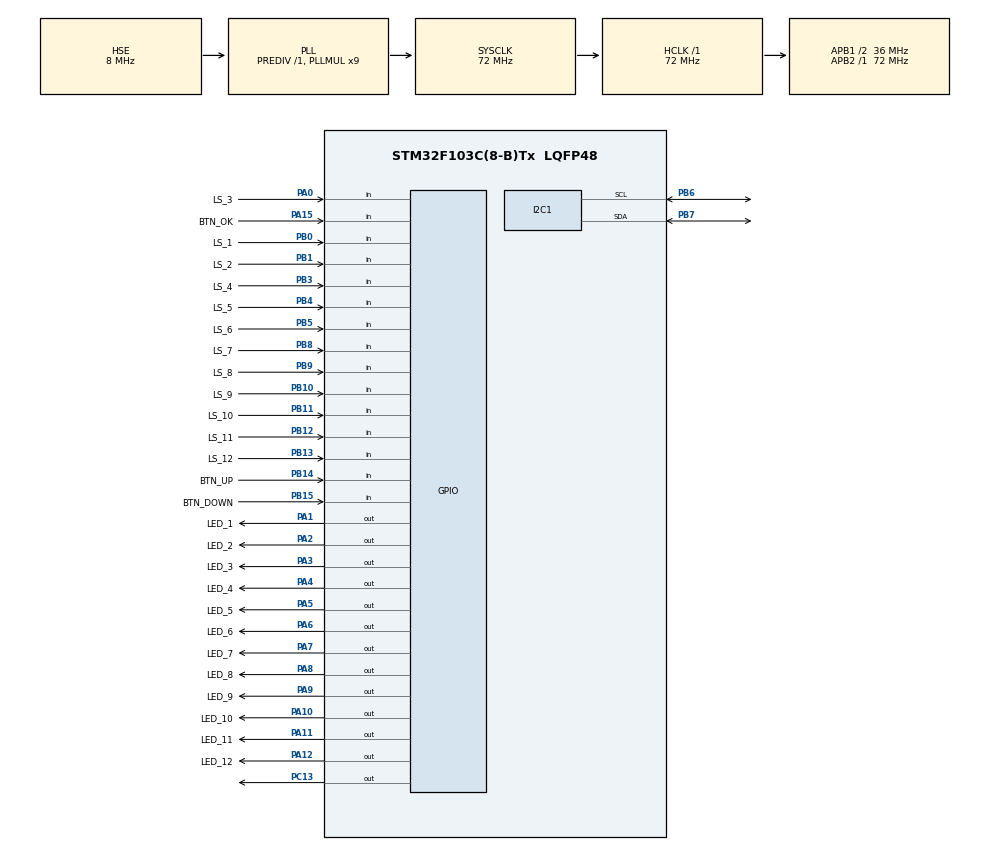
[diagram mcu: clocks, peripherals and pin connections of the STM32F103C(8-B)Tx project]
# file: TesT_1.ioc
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Mcu.Family=STM32F1
Mcu.Name=STM32F103C(8-B)Tx
Mcu.Package=LQFP48
NVIC.PriorityGroup=NVIC_PRIORITYGROUP_4
PA0-WKUP.GPIO_Label=LS_3
PA0-WKUP.GPIO_PuPd=GPIO_PULLDOWN
PA0-WKUP.Signal=GPIO_Input
PA1.GPIO_Label=LED_1
PA1.GPIO_ModeDefaultOutputPP=GPIO_MODE_OUTPUT_OD
PA1.GPIO_PuPd=GPIO_NOPULL
PA1.PinState=GPIO_PIN_SET
PA1.Signal=GPIO_Output
PA10.GPIO_Label=LED_10
PA10.GPIO_ModeDefaultOutputPP=GPIO_MODE_OUTPUT_OD
PA10.GPIO_PuPd=GPIO_NOPULL
PA10.PinState=GPIO_PIN_SET
PA10.Signal=GPIO_Output
PA11.GPIO_Label=LED_11
PA11.GPIO_ModeDefaultOutputPP=GPIO_MODE_OUTPUT_OD
PA11.GPIO_PuPd=GPIO_NOPULL
PA11.PinState=GPIO_PIN_SET
PA11.Signal=GPIO_Output
PA12.GPIO_Label=LED_12
PA12.GPIO_ModeDefaultOutputPP=GPIO_MODE_OUTPUT_OD
PA12.GPIO_PuPd=GPIO_NOPULL
PA12.PinState=GPIO_PIN_SET
PA12.Signal=GPIO_Output
PA13.Mode=Serial_Wire
PA13.Signal=SYS_JTMS-SWDIO
PA14.Mode=Serial_Wire
PA14.Signal=SYS_JTCK-SWCLK
PA15.GPIO_Label=BTN_OK
PA15.GPIO_PuPd=GPIO_PULLDOWN
PA15.Signal=GPIO_Input
PA2.GPIO_Label=LED_2
PA2.GPIO_ModeDefaultOutputPP=GPIO_MODE_OUTPUT_OD
PA2.GPIO_PuPd=GPIO_NOPULL
PA2.PinState=GPIO_PIN_SET
PA2.Signal=GPIO_Output
PA3.GPIO_Label=LED_3
PA3.GPIO_ModeDefaultOutputPP=GPIO_MODE_OUTPUT_OD
PA3.GPIO_PuPd=GPIO_NOPULL
PA3.PinState=GPIO_PIN_SET
PA3.Signal=GPIO_Output
PA4.GPIO_Label=LED_4
PA4.GPIO_ModeDefaultOutputPP=GPIO_MODE_OUTPUT_OD
PA4.GPIO_PuPd=GPIO_NOPULL
PA4.PinState=GPIO_PIN_SET
PA4.Signal=GPIO_Output
PA5.GPIO_Label=LED_5
PA5.GPIO_ModeDefaultOutputPP=GPIO_MODE_OUTPUT_OD
PA5.GPIO_PuPd=GPIO_NOPULL
PA5.PinState=GPIO_PIN_SET
PA5.Signal=GPIO_Output
PA6.GPIO_Label=LED_6
PA6.GPIO_ModeDefaultOutputPP=GPIO_MODE_OUTPUT_OD
PA6.GPIO_PuPd=GPIO_NOPULL
PA6.PinState=GPIO_PIN_SET
PA6.Signal=GPIO_Output
PA7.GPIO_Label=LED_7
PA7.GPIO_ModeDefaultOutputPP=GPIO_MODE_OUTPUT_OD
PA7.GPIO_PuPd=GPIO_NOPULL
PA7.PinState=GPIO_PIN_SET
PA7.Signal=GPIO_Output
PA8.GPIO_Label=LED_8
PA8.GPIO_ModeDefaultOutputPP=GPIO_MODE_OUTPUT_OD
PA8.GPIO_PuPd=GPIO_NOPULL
PA8.PinState=GPIO_PIN_SET
PA8.Signal=GPIO_Output
PA9.GPIO_Label=LED_9
PA9.GPIO_ModeDefaultOutputPP=GPIO_MODE_OUTPUT_OD
PA9.GPIO_PuPd=GPIO_NOPULL
PA9.PinState=GPIO_PIN_SET
PA9.Signal=GPIO_Output
PB0.GPIO_Label=LS_1
PB0.GPIO_PuPd=GPIO_PULLDOWN
PB0.Signal=GPIO_Input
PB1.GPIO_Label=LS_2
PB1.GPIO_PuPd=GPIO_PULLDOWN
PB1.Signal=GPIO_Input
PB10.GPIO_Label=LS_9
PB10.GPIO_PuPd=GPIO_PULLDOWN
PB10.Signal=GPIO_Input
PB11.GPIO_Label=LS_10
PB11.GPIO_PuPd=GPIO_PULLDOWN
PB11.Signal=GPIO_Input
PB12.GPIO_Label=LS_11
PB12.GPIO_PuPd=GPIO_PULLDOWN
PB12.Signal=GPIO_Input
PB13.GPIO_Label=LS_12
PB13.GPIO_PuPd=GPIO_PULLDOWN
PB13.Signal=GPIO_Input
PB14.GPIO_Label=BTN_UP
PB14.GPIO_PuPd=GPIO_PULLDOWN
PB14.Signal=GPIO_Input
PB15.GPIO_Label=BTN_DOWN
PB15.GPIO_PuPd=GPIO_PULLDOWN
PB15.Signal=GPIO_Input
PB3.GPIO_Label=LS_4
PB3.GPIO_PuPd=GPIO_PULLDOWN
PB3.Signal=GPIO_Input
PB4.GPIO_Label=LS_5
PB4.GPIO_PuPd=GPIO_PULLDOWN
PB4.Signal=GPIO_Input
PB5.GPIO_Label=LS_6
PB5.GPIO_PuPd=GPIO_PULLDOWN
PB5.Signal=GPIO_Input
PB6.Mode=I2C
PB6.Signal=I2C1_SCL
PB7.Mode=I2C
PB7.Signal=I2C1_SDA
PB8.GPIO_Label=LS_7
PB8.GPIO_PuPd=GPIO_PULLDOWN
PB8.Signal=GPIO_Input
PB9.GPIO_Label=LS_8
PB9.GPIO_PuPd=GPIO_PULLDOWN
PB9.Signal=GPIO_Input
PC13-TAMPER-RTC.Signal=GPIO_Output
PD0-OSC_IN.Mode=HSE-External-Oscillator
PD0-OSC_IN.Signal=RCC_OSC_IN
PD1-OSC_OUT.Mode=HSE-External-Oscillator
PD1-OSC_OUT.Signal=RCC_OSC_OUT
ProjectManager.HeapSize=0x200
ProjectManager.StackSize=0x400
ProjectManager.TargetToolchain=STM32CubeIDE
RCC.AHBFreq_Value=72000000
RCC.APB1CLKDivider=RCC_HCLK_DIV2
RCC.APB1Freq_Value=36000000
RCC.APB1TimFreq_Value=72000000
RCC.APB2Freq_Value=72000000
RCC.APB2TimFreq_Value=72000000
RCC.HCLKFreq_Value=72000000
RCC.PLLMUL=RCC_PLL_MUL9
RCC.PLLSourceVirtual=RCC_PLLSOURCE_HSE
RCC.SYSCLKFreq_VALUE=72000000
RCC.SYSCLKSource=RCC_SYSCLKSOURCE_PLLCLK
RCC.USBFreq_Value=72000000
board=custom

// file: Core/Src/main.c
/* USER CODE BEGIN Header */
/**
  ******************************************************************************
  * @file           : main.c
  * @brief          : Main program body
  ******************************************************************************
  * @attention
  *
  * Copyright (c) 2024 STMicroelectronics.
  * All rights reserved.
  *
  * This software is licensed under terms that can be found in the LICENSE file
  * in the root directory of this software component.
  * If no LICENSE file comes with this software, it is provided AS-IS.
  *
  ******************************************************************************
  */

/*
Electronics Studio
@file LCD16x2_I2c_F103
@Date 07-06-25
@url https:https: https://github.com/electronicsstudio
@url YouTube: https://www.youtube.com/@ElectronicsStudio-v7o/featured
*/

/* USER CODE END Header */
#include "main.h"

/* USER CODE BEGIN Includes */
#include "i2c-lcd.h"

#include "io.h"
#include "stdio.h"
#include "deb.h"
#include "ui_lcd.h"   // <--- add this
#include "game.h"
#include <string.h>  // Added for string manipulation functions
/* USER CODE END Includes */

I2C_HandleTypeDef hi2c1;

void SystemClock_Config(void);
static void MX_GPIO_Init(void);
static void MX_I2C1_Init(void);

int main(void)
{

  /* MCU Configuration--------------------------------------------------------*/

  /* Reset of all peripherals, Initializes the Flash interface and the Systick. */
  HAL_Init();

  /* Configure the system clock */
  SystemClock_Config();

  /* Initialize all configured peripherals */
  MX_GPIO_Init();
  MX_I2C1_Init();

  /* USER CODE BEGIN 2 */
  // ----- app state (0=MENU, 1=READY, 2=RUNNING, 3=SUMMARY)
  uint8_t  app_state = 0;
  level_t  sel = LVL_EASY;
  game_t   g;

  uint32_t last_ms = HAL_GetTick();

  // READY-state helpers
  uint32_t ready_end = 0;
  uint32_t next_sec = 0;
  uint32_t ready_blink_t = 0;   // <--- renamed (was blink_t)
  uint8_t  sec_left = 0;
  uint8_t  blink_on = 0;

  // draw initial menu
  ui_menu_draw(sel);
  io_init_after_mx();

  lcd_init();
  HAL_Delay(5);
  ui_menu_draw(LVL_EASY);     // start on Easy

  deb_init();

  /* USER CODE END 2 */

  /* Infinite loop */
  /* USER CODE BEGIN WHILE */
  while (1)
  {
    // 1) debounce at 1 ms
    uint32_t now = HAL_GetTick();
    if (now != last_ms) {
      for (; last_ms != now; last_ms++) {
        deb_poll_1ms();
      }
    }

    if (app_state == 0) {
      // ===== MENU =====
      if (deb_btn_pressed_edge(0)) {            // UP
        sel = (sel == 0) ? (LVL_COUNT - 1) : (sel - 1);
        ui_menu_draw(sel);
      }
      if (deb_btn_pressed_edge(1)) {            // DOWN
        sel = (sel + 1) % LVL_COUNT;
        ui_menu_draw(sel);
      }
      // OK -> READY (3s countdown)
      if (deb_btn_pressed_edge(2)) {
        for (int i = 0; i < 12; ++i) led_off(i);  // start clean

        sec_left       = 3;
        blink_on       = 0;
        ready_end      = now + 3000;
        next_sec       = now + 1000;
        ready_blink_t  = now;                    // <--- use ready_blink_t

        ui_ready_draw(sel, sec_left);
        app_state = 1;  // READY
      }

    } else if (app_state == 1) {
      // ===== READY (3s) =====

      // Blink all LEDs every ~200 ms
      if ((int32_t)(now - ready_blink_t) >= 400) {
        blink_on = !blink_on;
        for (int i = 0; i < 12; ++i) {
          if (blink_on) led_on(i); else led_off(i);
        }
        ready_blink_t += 400;                    // <--- advance ready_blink_t
      }

      // Update the countdown each second: 3 -> 2 -> 1
      if ((int32_t)(now - next_sec) >= 0 && sec_left > 1) {
        sec_left--;
        ui_ready_draw(sel, sec_left);
        next_sec += 1000;
      }

      // Allow OK to skip the wait
      if (deb_btn_pressed_edge(2)) {
        for (int i = 0; i < 12; ++i) led_off(i);
        game_start(&g, sel, now);
        app_state = 2;  // RUNNING
      }

      // Auto-start when the 3s is up
      if ((int32_t)(now - ready_end) >= 0) {
        for (int i = 0; i < 12; ++i) led_off(i);
        game_start(&g, sel, now);
        app_state = 2;  // RUNNING
      }

    } else if (app_state == 2) {
      // ===== RUNNING =====

      // a) handle debounced presses from 12 limit switches
      for (uint8_t i = 0; i < 12; ++i) {
        if (deb_sw_pressed_edge(i)) game_handle_press(&g, i);
      }

      // b) advance steps / finish?
      if (game_tick(&g, now)) {
        app_state = 3;   // SUMMARY (ui already drawn by game_tick)
      }

      // c) early end with OK
      if (deb_btn_pressed_edge(2)) {
        ui_game_summary(g.level, g.hits, g.trials);
        for (int i = 0; i < 12; ++i) led_off(i);
        app_state = 3;
      }

    } else {
      // ===== SUMMARY =====
      if (deb_btn_pressed_edge(2)) {
        for (int i = 0; i < 12; ++i) led_off(i);
        ui_menu_draw(sel);
        app_state = 0;
      }
    }
  }

    /* USER CODE END WHILE */

}

void SystemClock_Config(void)
{
  RCC_OscInitTypeDef RCC_OscInitStruct = {0};
  RCC_ClkInitTypeDef RCC_ClkInitStruct = {0};

  /** Initializes the RCC Oscillators according to the specified parameters
  * in the RCC_OscInitTypeDef structure.
  */
  RCC_OscInitStruct.OscillatorType = RCC_OSCILLATORTYPE_HSE;
  RCC_OscInitStruct.HSEState = RCC_HSE_ON;
  RCC_OscInitStruct.HSEPredivValue = RCC_HSE_PREDIV_DIV1;
  RCC_OscInitStruct.HSIState = RCC_HSI_ON;
  RCC_OscInitStruct.PLL.PLLState = RCC_PLL_ON;
  RCC_OscInitStruct.PLL.PLLSource = RCC_PLLSOURCE_HSE;
  RCC_OscInitStruct.PLL.PLLMUL = RCC_PLL_MUL9;
  if (HAL_RCC_OscConfig(&RCC_OscInitStruct) != HAL_OK)
  {
    Error_Handler();
  }

  /** Initializes the CPU, AHB and APB buses clocks
  */
  RCC_ClkInitStruct.ClockType = RCC_CLOCKTYPE_HCLK|RCC_CLOCKTYPE_SYSCLK
                              |RCC_CLOCKTYPE_PCLK1|RCC_CLOCKTYPE_PCLK2;
  RCC_ClkInitStruct.SYSCLKSource = RCC_SYSCLKSOURCE_PLLCLK;
  RCC_ClkInitStruct.AHBCLKDivider = RCC_SYSCLK_DIV1;
  RCC_ClkInitStruct.APB1CLKDivider = RCC_HCLK_DIV2;
  RCC_ClkInitStruct.APB2CLKDivider = RCC_HCLK_DIV1;

  if (HAL_RCC_ClockConfig(&RCC_ClkInitStruct, FLASH_LATENCY_2) != HAL_OK)
  {
    Error_Handler();
  }
}

static void MX_I2C1_Init(void)
{

  hi2c1.Instance = I2C1;
  hi2c1.Init.ClockSpeed = 100000;
  hi2c1.Init.DutyCycle = I2C_DUTYCYCLE_2;
  hi2c1.Init.OwnAddress1 = 0;
  hi2c1.Init.AddressingMode = I2C_ADDRESSINGMODE_7BIT;
  hi2c1.Init.DualAddressMode = I2C_DUALADDRESS_DISABLE;
  hi2c1.Init.OwnAddress2 = 0;
  hi2c1.Init.GeneralCallMode = I2C_GENERALCALL_DISABLE;
  hi2c1.Init.NoStretchMode = I2C_NOSTRETCH_DISABLE;
  if (HAL_I2C_Init(&hi2c1) != HAL_OK)
  {
    Error_Handler();
  }

}

static void MX_GPIO_Init(void)
{
  GPIO_InitTypeDef GPIO_InitStruct = {0};

  /* GPIO Ports Clock Enable */
  __HAL_RCC_GPIOC_CLK_ENABLE();
  __HAL_RCC_GPIOD_CLK_ENABLE();
  __HAL_RCC_GPIOA_CLK_ENABLE();
  __HAL_RCC_GPIOB_CLK_ENABLE();

  /*Configure GPIO pin Output Level */
  HAL_GPIO_WritePin(GPIOC, GPIO_PIN_13, GPIO_PIN_RESET);

  /*Configure GPIO pin Output Level */
  HAL_GPIO_WritePin(GPIOA, LED_1_Pin|LED_2_Pin|LED_3_Pin|LED_4_Pin
                          |LED_5_Pin|LED_6_Pin|LED_7_Pin|LED_8_Pin
                          |LED_9_Pin|LED_10_Pin|LED_11_Pin|LED_12_Pin, GPIO_PIN_SET);

  /*Configure GPIO pin : PC13 */
  GPIO_InitStruct.Pin = GPIO_PIN_13;
  GPIO_InitStruct.Mode = GPIO_MODE_OUTPUT_PP;
  GPIO_InitStruct.Pull = GPIO_NOPULL;
  GPIO_InitStruct.Speed = GPIO_SPEED_FREQ_LOW;
  HAL_GPIO_Init(GPIOC, &GPIO_InitStruct);

  /*Configure GPIO pins : LS_3_Pin BTN_OK_Pin */
  GPIO_InitStruct.Pin = LS_3_Pin|BTN_OK_Pin;
  GPIO_InitStruct.Mode = GPIO_MODE_INPUT;
  GPIO_InitStruct.Pull = GPIO_PULLDOWN;
  HAL_GPIO_Init(GPIOA, &GPIO_InitStruct);

  /*Configure GPIO pins : LED_1_Pin LED_2_Pin LED_3_Pin LED_4_Pin
                           LED_5_Pin LED_6_Pin LED_7_Pin LED_8_Pin
                           LED_9_Pin LED_10_Pin LED_11_Pin LED_12_Pin */
  GPIO_InitStruct.Pin = LED_1_Pin|LED_2_Pin|LED_3_Pin|LED_4_Pin
                          |LED_5_Pin|LED_6_Pin|LED_7_Pin|LED_8_Pin
                          |LED_9_Pin|LED_10_Pin|LED_11_Pin|LED_12_Pin;
  GPIO_InitStruct.Mode = GPIO_MODE_OUTPUT_OD;
  GPIO_InitStruct.Pull = GPIO_NOPULL;
  GPIO_InitStruct.Speed = GPIO_SPEED_FREQ_LOW;
  HAL_GPIO_Init(GPIOA, &GPIO_InitStruct);

  /*Configure GPIO pins : LS_1_Pin LS_2_Pin LS_9_Pin LS_10_Pin
                           LS_11_Pin LS_12_Pin BTN_UP_Pin BTN_DOWN_Pin
                           LS_4_Pin LS_5_Pin LS_6_Pin LS_7_Pin
                           LS_8_Pin */
  GPIO_InitStruct.Pin = LS_1_Pin|LS_2_Pin|LS_9_Pin|LS_10_Pin
                          |LS_11_Pin|LS_12_Pin|BTN_UP_Pin|BTN_DOWN_Pin
                          |LS_4_Pin|LS_5_Pin|LS_6_Pin|LS_7_Pin
                          |LS_8_Pin;
  GPIO_InitStruct.Mode = GPIO_MODE_INPUT;
  GPIO_InitStruct.Pull = GPIO_PULLDOWN;
  HAL_GPIO_Init(GPIOB, &GPIO_InitStruct);

}

void Error_Handler(void)
{
  __disable_irq();
  while (1)
  {
  }
}
#ifdef USE_FULL_ASSERT
/**
  * @brief  Reports the name of the source file and the source line number
  *         where the assert_param error has occurred.
  * @param  file: pointer to the source file name
  * @param  line: assert_param error line source number
  * @retval None
  */
void assert_failed(uint8_t *file, uint32_t line)
{
  /* USER CODE BEGIN 6 */
void assert_failed(uint8_t *file, uint32_t line)
{
  // User can add his own implementation to report the file name and line number
}
  /* USER CODE END 6 */
}
#endif /* USE_FULL_ASSERT */
